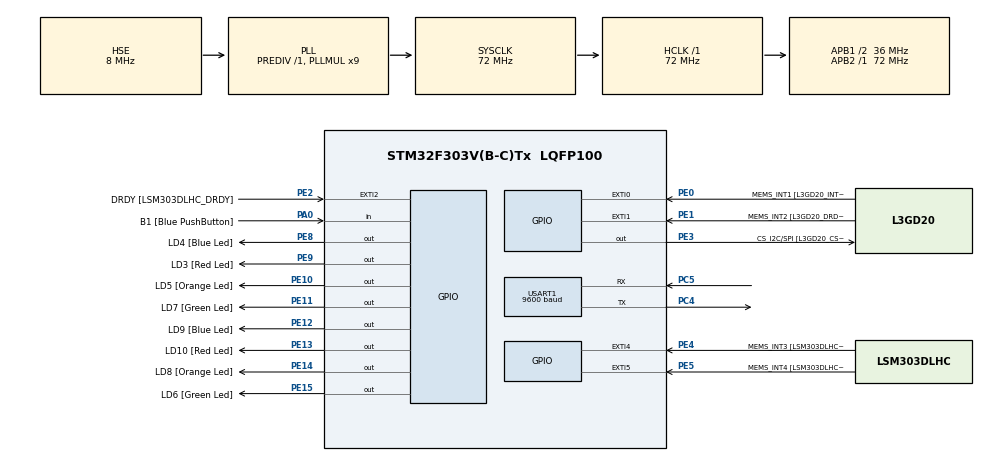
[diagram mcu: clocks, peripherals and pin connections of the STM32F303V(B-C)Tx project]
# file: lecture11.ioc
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FREERTOS.Mutexes01=RedMutex,Dynamic,NULL;GreenMutex,Dynamic,NULL
FREERTOS.Tasks01=defaultTask,24,128,StartDefaultTask,Default,NULL,Dynamic,NULL,NULL;myTask_A,24,128,task_A,Default,NULL,Dynamic,NULL,NULL;myTask_B,24,128,task_B,Default,NULL,Dynamic,NULL,NULL
Mcu.Family=STM32F3
Mcu.Name=STM32F303V(B-C)Tx
Mcu.Package=LQFP100
NVIC.PriorityGroup=NVIC_PRIORITYGROUP_4
NVIC.TIM2_IRQn=true\:0\:0\:false\:false\:true\:false\:false\:true
NVIC.TimeBase=TIM2_IRQn
NVIC.TimeBaseIP=TIM2
NVIC.USART1_IRQn=true\:5\:0\:false\:false\:true\:true\:true\:true
PA0.GPIO_Label=B1 [Blue PushButton]
PA0.GPIO_Mode=GPIO_MODE_INPUT
PA0.GPIO_PuPd=GPIO_NOPULL
PA0.Signal=GPIO_Input
PA11.GPIO_Label=DM
PA11.Signal=USB_DM
PA12.GPIO_Label=DP
PA12.Signal=USB_DP
PA13.GPIO_Label=SWDIO
PA13.Signal=SYS_JTMS-SWDIO
PA14.GPIO_Label=SWCLK
PA14.Signal=SYS_JTCK-SWCLK
PA5.GPIO_Label=SPI1_SCK [L3GD20_SCL/SPC]
PA5.GPIO_Mode=GPIO_MODE_AF_PP
PA5.GPIO_PuPd=GPIO_NOPULL
PA5.GPIO_Speed=GPIO_SPEED_FREQ_LOW
PA5.Signal=SPI1_SCK
PA6.GPIO_Label=SPI1_MISO [L3GD20_SA0/SDO]
PA6.GPIO_Mode=GPIO_MODE_AF_PP
PA6.GPIO_PuPd=GPIO_NOPULL
PA6.GPIO_Speed=GPIO_SPEED_FREQ_LOW
PA6.Signal=SPI1_MISO
PA7.GPIO_Label=SPI1_MISO [L3GD20_SDA/SDI/SDO]
PA7.GPIO_Mode=GPIO_MODE_AF_PP
PA7.GPIO_PuPd=GPIO_NOPULL
PA7.GPIO_Speed=GPIO_SPEED_FREQ_LOW
PA7.Signal=SPI1_MOSI
PB3.GPIO_Label=SWO
PB3.Signal=SYS_JTDO-TRACESWO
PB6.GPIO_FM6=__NULL
PB6.GPIO_Label=I2C1_SCL [LSM303DLHC_SCL]
PB6.GPIO_Mode=GPIO_MODE_AF_OD
PB6.GPIO_PuPd=GPIO_NOPULL
PB6.GPIO_Speed=GPIO_SPEED_FREQ_LOW
PB6.Signal=I2C1_SCL
PB7.GPIO_FM7=__NULL
PB7.GPIO_Label=I2C1_SDA [LSM303DLHC_SDA]
PB7.GPIO_Mode=GPIO_MODE_AF_OD
PB7.GPIO_PuPd=GPIO_NOPULL
PB7.GPIO_Speed=GPIO_SPEED_FREQ_LOW
PB7.Signal=I2C1_SDA
PC14-OSC32_IN.GPIO_Label=OSC32_IN
PC14-OSC32_IN.Signal=RCC_OSC32_IN
PC15-OSC32_OUT.GPIO_Label=OSC32_OUT
PC15-OSC32_OUT.Signal=RCC_OSC32_OUT
PC4.Mode=Asynchronous
PC4.Signal=USART1_TX
PC5.Mode=Asynchronous
PC5.Signal=USART1_RX
PE0.GPIO_Label=MEMS_INT1 [L3GD20_INT1]
PE0.GPIO_ModeDefaultEXTI=GPIO_MODE_EVT_RISING
PE0.GPIO_PuPd=GPIO_NOPULL
PE0.Signal=GPXTI0
PE1.GPIO_Label=MEMS_INT2 [L3GD20_DRDY/INT2]
PE1.GPIO_ModeDefaultEXTI=GPIO_MODE_EVT_RISING
PE1.GPIO_PuPd=GPIO_NOPULL
PE1.Signal=GPXTI1
PE10.GPIO_Label=LD5 [Orange Led]
PE10.GPIO_ModeDefaultOutputPP=GPIO_MODE_OUTPUT_PP
PE10.GPIO_PuPd=GPIO_NOPULL
PE10.GPIO_Speed=GPIO_SPEED_FREQ_LOW
PE10.Signal=GPIO_Output
PE11.GPIO_Label=LD7 [Green Led]
PE11.GPIO_ModeDefaultOutputPP=GPIO_MODE_OUTPUT_PP
PE11.GPIO_PuPd=GPIO_NOPULL
PE11.GPIO_Speed=GPIO_SPEED_FREQ_LOW
PE11.Signal=GPIO_Output
PE12.GPIO_Label=LD9 [Blue Led]
PE12.GPIO_ModeDefaultOutputPP=GPIO_MODE_OUTPUT_PP
PE12.GPIO_PuPd=GPIO_NOPULL
PE12.GPIO_Speed=GPIO_SPEED_FREQ_LOW
PE12.Signal=GPIO_Output
PE13.GPIO_Label=LD10 [Red Led]
PE13.GPIO_ModeDefaultOutputPP=GPIO_MODE_OUTPUT_PP
PE13.GPIO_PuPd=GPIO_NOPULL
PE13.GPIO_Speed=GPIO_SPEED_FREQ_LOW
PE13.Signal=GPIO_Output
PE14.GPIO_Label=LD8 [Orange Led]
PE14.GPIO_ModeDefaultOutputPP=GPIO_MODE_OUTPUT_PP
PE14.GPIO_PuPd=GPIO_NOPULL
PE14.GPIO_Speed=GPIO_SPEED_FREQ_LOW
PE14.Signal=GPIO_Output
PE15.GPIO_Label=LD6 [Green Led]
PE15.GPIO_ModeDefaultOutputPP=GPIO_MODE_OUTPUT_PP
PE15.GPIO_PuPd=GPIO_NOPULL
PE15.GPIO_Speed=GPIO_SPEED_FREQ_LOW
PE15.Signal=GPIO_Output
PE2.GPIO_Label=DRDY [LSM303DLHC_DRDY]
PE2.GPIO_ModeDefaultEXTI=GPIO_MODE_EVT_RISING
PE2.GPIO_PuPd=GPIO_NOPULL
PE2.Signal=GPXTI2
PE3.GPIO_Label=CS_I2C/SPI [L3GD20_CS_I2C/SPI]
PE3.GPIO_ModeDefaultOutputPP=GPIO_MODE_OUTPUT_PP
PE3.GPIO_PuPd=GPIO_NOPULL
PE3.GPIO_Speed=GPIO_SPEED_FREQ_LOW
PE3.Signal=GPIO_Output
PE4.GPIO_Label=MEMS_INT3 [LSM303DLHC_INT1]
PE4.GPIO_ModeDefaultEXTI=GPIO_MODE_EVT_RISING
PE4.GPIO_PuPd=GPIO_NOPULL
PE4.Signal=GPXTI4
PE5.GPIO_Label=MEMS_INT4 [LSM303DLHC_INT2]
PE5.GPIO_ModeDefaultEXTI=GPIO_MODE_EVT_RISING
PE5.GPIO_PuPd=GPIO_NOPULL
PE5.Signal=GPXTI5
PE8.GPIO_Label=LD4 [Blue Led]
PE8.GPIO_ModeDefaultOutputPP=GPIO_MODE_OUTPUT_PP
PE8.GPIO_PuPd=GPIO_NOPULL
PE8.GPIO_Speed=GPIO_SPEED_FREQ_LOW
PE8.Signal=GPIO_Output
PE9.GPIO_Label=LD3 [Red Led]
PE9.GPIO_ModeDefaultOutputPP=GPIO_MODE_OUTPUT_PP
PE9.GPIO_PuPd=GPIO_NOPULL
PE9.GPIO_Speed=GPIO_SPEED_FREQ_LOW
PE9.Signal=GPIO_Output
PF0-OSC_IN.GPIO_Label=OSC_IN
PF0-OSC_IN.Mode=HSE-External-Oscillator
PF0-OSC_IN.Signal=RCC_OSC_IN
PF1-OSC_OUT.GPIO_Label=OSC_OUT
PF1-OSC_OUT.Mode=HSE-External-Oscillator
PF1-OSC_OUT.Signal=RCC_OSC_OUT
ProjectManager.HeapSize=0x200
ProjectManager.StackSize=0x400
ProjectManager.TargetToolchain=MDK-ARM V5.27
RCC.AHBFreq_Value=72000000
RCC.APB1CLKDivider=RCC_HCLK_DIV2
RCC.APB1Freq_Value=36000000
RCC.APB1TimFreq_Value=72000000
RCC.APB2Freq_Value=72000000
RCC.APB2TimFreq_Value=72000000
RCC.CortexFreq_Value=72000000
RCC.HCLKFreq_Value=72000000
RCC.HSE_VALUE=8000000
RCC.HSI_VALUE=8000000
RCC.LSE_VALUE=32768
RCC.PLLMUL=RCC_PLL_MUL9
RCC.PLLSourceVirtual=RCC_PLLSOURCE_HSE
RCC.SYSCLKFreq_VALUE=72000000
RCC.SYSCLKSourceVirtual=RCC_SYSCLKSOURCE_PLLCLK
RCC.USBFreq_Value=72000000
USART1.BaudRate=9600
USART1.VirtualMode-Asynchronous=VM_ASYNC
VP_FREERTOS_VS_CMSIS_V2.Mode=CMSIS_V2
VP_SYS_VS_tim2.Mode=TIM2
board=STM32F3DISCOVERY

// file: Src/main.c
/* USER CODE BEGIN Header */
/**
  ******************************************************************************
  * @file           : main.c
  * @brief          : Task1 - Create program with livelock
  ******************************************************************************
  * @attention
  *
  * <h2><center>&copy; Copyright (c) 2020 STMicroelectronics.
  * All rights reserved.</center></h2>
  *
  * This software component is licensed by ST under Ultimate Liberty license
  * SLA0044, the "License"; You may not use this file except in compliance with
  * the License. You may obtain a copy of the License at:
  *                             www.st.com/SLA0044
  *
  ******************************************************************************
  */
/* USER CODE END Header */

#include "main.h"
#include "cmsis_os.h"
#include <string.h>

/* USER CODE BEGIN PD */
#define WAIT 10
/* USER CODE END PD */

UART_HandleTypeDef huart1;

osThreadId_t defaultTaskHandle;
osThreadId_t myTask_AHandle;
osThreadId_t myTask_BHandle;
osMutexId_t RedMutexHandle;
osMutexId_t GreenMutexHandle;

void SystemClock_Config(void);
static void MX_GPIO_Init(void);
static void MX_USART1_UART_Init(void);
void StartDefaultTask(void *argument);
void task_A(void *argument);
void task_B(void *argument);
void payload(void);

int main(void)
{

  /* MCU Configuration--------------------------------------------------------*/

  /* Reset of all peripherals, Initializes the Flash interface and the Systick. */
  HAL_Init();

  /* Configure the system clock */
  SystemClock_Config();

  /* Initialize all configured peripherals */
  MX_GPIO_Init();
  MX_USART1_UART_Init();

  osKernelInitialize();

  /* Create the mutex(es) */
  /* definition and creation of RedMutex */
  const osMutexAttr_t RedMutex_attributes = {
    .name = "RedMutex"
  };
  RedMutexHandle = osMutexNew(&RedMutex_attributes);

  /* definition and creation of GreenMutex */
  const osMutexAttr_t GreenMutex_attributes = {
    .name = "GreenMutex"
  };
  GreenMutexHandle = osMutexNew(&GreenMutex_attributes);

  /* Create the thread(s) */
  /* definition and creation of defaultTask */
  const osThreadAttr_t defaultTask_attributes = {
    .name = "defaultTask",
    .priority = (osPriority_t) osPriorityNormal,
    .stack_size = 128
  };
  defaultTaskHandle = osThreadNew(StartDefaultTask, NULL, &defaultTask_attributes);

  /* definition and creation of myTask_A */
  const osThreadAttr_t myTask_A_attributes = {
    .name = "myTask_A",
    .priority = (osPriority_t) osPriorityNormal,
    .stack_size = 128
  };
  myTask_AHandle = osThreadNew(task_A, NULL, &myTask_A_attributes);

  /* definition and creation of myTask_B */
  const osThreadAttr_t myTask_B_attributes = {
    .name = "myTask_B",
    .priority = (osPriority_t) osPriorityNormal,
    .stack_size = 128
  };
  myTask_BHandle = osThreadNew(task_B, NULL, &myTask_B_attributes);

  /* Start scheduler */
  osKernelStart();

  /* We should never get here as control is now taken by the scheduler */

  /* Infinite loop */
  while (1)
  {

  }
}

void SystemClock_Config(void)
{
  RCC_OscInitTypeDef RCC_OscInitStruct = {0};
  RCC_ClkInitTypeDef RCC_ClkInitStruct = {0};
  RCC_PeriphCLKInitTypeDef PeriphClkInit = {0};

  /** Initializes the CPU, AHB and APB busses clocks
  */
  RCC_OscInitStruct.OscillatorType = RCC_OSCILLATORTYPE_HSE;
  RCC_OscInitStruct.HSEState = RCC_HSE_ON;
  RCC_OscInitStruct.HSEPredivValue = RCC_HSE_PREDIV_DIV1;
  RCC_OscInitStruct.HSIState = RCC_HSI_ON;
  RCC_OscInitStruct.PLL.PLLState = RCC_PLL_ON;
  RCC_OscInitStruct.PLL.PLLSource = RCC_PLLSOURCE_HSE;
  RCC_OscInitStruct.PLL.PLLMUL = RCC_PLL_MUL9;
  if (HAL_RCC_OscConfig(&RCC_OscInitStruct) != HAL_OK)
  {
    Error_Handler();
  }
  /** Initializes the CPU, AHB and APB busses clocks
  */
  RCC_ClkInitStruct.ClockType = RCC_CLOCKTYPE_HCLK|RCC_CLOCKTYPE_SYSCLK
                              |RCC_CLOCKTYPE_PCLK1|RCC_CLOCKTYPE_PCLK2;
  RCC_ClkInitStruct.SYSCLKSource = RCC_SYSCLKSOURCE_PLLCLK;
  RCC_ClkInitStruct.AHBCLKDivider = RCC_SYSCLK_DIV1;
  RCC_ClkInitStruct.APB1CLKDivider = RCC_HCLK_DIV2;
  RCC_ClkInitStruct.APB2CLKDivider = RCC_HCLK_DIV1;

  if (HAL_RCC_ClockConfig(&RCC_ClkInitStruct, FLASH_LATENCY_2) != HAL_OK)
  {
    Error_Handler();
  }
  PeriphClkInit.PeriphClockSelection = RCC_PERIPHCLK_USART1;
  PeriphClkInit.Usart1ClockSelection = RCC_USART1CLKSOURCE_PCLK2;
  if (HAL_RCCEx_PeriphCLKConfig(&PeriphClkInit) != HAL_OK)
  {
    Error_Handler();
  }
}

static void MX_USART1_UART_Init(void)
{

  huart1.Instance = USART1;
  huart1.Init.BaudRate = 9600;
  huart1.Init.WordLength = UART_WORDLENGTH_8B;
  huart1.Init.StopBits = UART_STOPBITS_1;
  huart1.Init.Parity = UART_PARITY_NONE;
  huart1.Init.Mode = UART_MODE_TX_RX;
  huart1.Init.HwFlowCtl = UART_HWCONTROL_NONE;
  huart1.Init.OverSampling = UART_OVERSAMPLING_16;
  huart1.Init.OneBitSampling = UART_ONE_BIT_SAMPLE_DISABLE;
  huart1.AdvancedInit.AdvFeatureInit = UART_ADVFEATURE_NO_INIT;
  if (HAL_UART_Init(&huart1) != HAL_OK)
  {
    Error_Handler();
  }

}

static void MX_GPIO_Init(void)
{
  GPIO_InitTypeDef GPIO_InitStruct = {0};

  /* GPIO Ports Clock Enable */
  __HAL_RCC_GPIOE_CLK_ENABLE();
  __HAL_RCC_GPIOC_CLK_ENABLE();
  __HAL_RCC_GPIOF_CLK_ENABLE();
  __HAL_RCC_GPIOA_CLK_ENABLE();
  __HAL_RCC_GPIOB_CLK_ENABLE();

  /*Configure GPIO pin Output Level */
  HAL_GPIO_WritePin(GPIOE, CS_I2C_SPI_Pin|LD4_Pin|LD3_Pin|LD5_Pin
                          |LD7_Pin|LD9_Pin|LD10_Pin|LD8_Pin
                          |LD6_Pin, GPIO_PIN_RESET);

  /*Configure GPIO pins : DRDY_Pin MEMS_INT3_Pin MEMS_INT4_Pin MEMS_INT1_Pin
                           MEMS_INT2_Pin */
  GPIO_InitStruct.Pin = DRDY_Pin|MEMS_INT3_Pin|MEMS_INT4_Pin|MEMS_INT1_Pin
                          |MEMS_INT2_Pin;
  GPIO_InitStruct.Mode = GPIO_MODE_EVT_RISING;
  GPIO_InitStruct.Pull = GPIO_NOPULL;
  HAL_GPIO_Init(GPIOE, &GPIO_InitStruct);

  /*Configure GPIO pins : CS_I2C_SPI_Pin LD4_Pin LD3_Pin LD5_Pin
                           LD7_Pin LD9_Pin LD10_Pin LD8_Pin
                           LD6_Pin */
  GPIO_InitStruct.Pin = CS_I2C_SPI_Pin|LD4_Pin|LD3_Pin|LD5_Pin
                          |LD7_Pin|LD9_Pin|LD10_Pin|LD8_Pin
                          |LD6_Pin;
  GPIO_InitStruct.Mode = GPIO_MODE_OUTPUT_PP;
  GPIO_InitStruct.Pull = GPIO_NOPULL;
  GPIO_InitStruct.Speed = GPIO_SPEED_FREQ_LOW;
  HAL_GPIO_Init(GPIOE, &GPIO_InitStruct);

  /*Configure GPIO pin : B1_Pin */
  GPIO_InitStruct.Pin = B1_Pin;
  GPIO_InitStruct.Mode = GPIO_MODE_INPUT;
  GPIO_InitStruct.Pull = GPIO_NOPULL;
  HAL_GPIO_Init(B1_GPIO_Port, &GPIO_InitStruct);

  /*Configure GPIO pins : SPI1_SCK_Pin SPI1_MISO_Pin SPI1_MISOA7_Pin */
  GPIO_InitStruct.Pin = SPI1_SCK_Pin|SPI1_MISO_Pin|SPI1_MISOA7_Pin;
  GPIO_InitStruct.Mode = GPIO_MODE_AF_PP;
  GPIO_InitStruct.Pull = GPIO_NOPULL;
  GPIO_InitStruct.Speed = GPIO_SPEED_FREQ_LOW;
  GPIO_InitStruct.Alternate = GPIO_AF5_SPI1;
  HAL_GPIO_Init(GPIOA, &GPIO_InitStruct);

  /*Configure GPIO pins : DM_Pin DP_Pin */
  GPIO_InitStruct.Pin = DM_Pin|DP_Pin;
  GPIO_InitStruct.Mode = GPIO_MODE_AF_PP;
  GPIO_InitStruct.Pull = GPIO_NOPULL;
  GPIO_InitStruct.Speed = GPIO_SPEED_FREQ_HIGH;
  GPIO_InitStruct.Alternate = GPIO_AF14_USB;
  HAL_GPIO_Init(GPIOA, &GPIO_InitStruct);

  /*Configure GPIO pins : I2C1_SCL_Pin I2C1_SDA_Pin */
  GPIO_InitStruct.Pin = I2C1_SCL_Pin|I2C1_SDA_Pin;
  GPIO_InitStruct.Mode = GPIO_MODE_AF_OD;
  GPIO_InitStruct.Pull = GPIO_PULLUP;
  GPIO_InitStruct.Speed = GPIO_SPEED_FREQ_LOW;
  GPIO_InitStruct.Alternate = GPIO_AF4_I2C1;
  HAL_GPIO_Init(GPIOB, &GPIO_InitStruct);

}

/* USER CODE BEGIN 4 */
void payload(void)
{
	HAL_GPIO_TogglePin(GPIOE, GPIO_PIN_8);
	osDelay(500);
	HAL_GPIO_TogglePin(GPIOE, GPIO_PIN_9);
	osDelay(500);
	HAL_GPIO_TogglePin(GPIOE, GPIO_PIN_10);
	osDelay(500);
	HAL_UART_Transmit(&huart1, (uint8_t*)"WORK\r\n", strlen("WORK\r\n"), 0xFFFF);
}
/* USER CODE END 4 */

void StartDefaultTask(void *argument)
{
  /* USER CODE BEGIN 5 */
  /* Infinite loop */
  for(;;)
  {
    osDelay(1000);
		/*! led status */
    HAL_GPIO_TogglePin(GPIOE, GPIO_PIN_13);
  }
  /* USER CODE END 5 */
}

void task_A(void *argument)
{
  /* USER CODE BEGIN task_A */
  /* Infinite loop */
  for(;;)
  {
    osDelay(500);
		/*! take red mutex */
		if(osMutexAcquire(RedMutexHandle, WAIT) == osOK) {

			HAL_UART_Transmit(&huart1, (uint8_t*)"ACQUIRED RED MUTEX\r\n", strlen("ACQUIRED RED MUTEX\r\n"), 0xFFFF);

			HAL_GPIO_WritePin(LD6_GPIO_Port, LD6_Pin, GPIO_PIN_SET);

			osDelay(1000);
			/*! take green mutex */
			if(osMutexAcquire(GreenMutexHandle, WAIT) == osOK) {

				HAL_UART_Transmit(&huart1, (uint8_t*)"ACQUIRED GREEN MUTEX\r\n", strlen("ACQUIRED GREEN MUTEX\r\n"), 0xFFFF);
				/*! working led function */
				payload();
				/*! give green mutex */
				osMutexRelease(GreenMutexHandle);

				HAL_UART_Transmit(&huart1, (uint8_t*)"RELEASED GREEN MUTEX\r\n", strlen("RELEASED GREEN MUTEX\r\n"), 0xFFFF);
			}

			osDelay(500);

			HAL_GPIO_WritePin(LD6_GPIO_Port, LD6_Pin, GPIO_PIN_RESET);
			/*! give red mutex */
			osMutexRelease(RedMutexHandle);

			HAL_UART_Transmit(&huart1, (uint8_t*)"RELEASED RED MUTEX\r\n", strlen("RELEASED RED MUTEX\r\n"), 0xFFFF);

		}

  }
  /* USER CODE END task_A */
}

void task_B(void *argument)
{
  /* USER CODE BEGIN task_B */
  /* Infinite loop */
  for(;;)
  {
    osDelay(500);
		/*! take green mutex */
		if(osMutexAcquire(GreenMutexHandle, WAIT) == osOK) {

			HAL_UART_Transmit(&huart1, (uint8_t*)"ACQUIRED GREEN MUTEX\r\n", strlen("ACQUIRED GREEN MUTEX\r\n"), 0xFFFF);

			HAL_GPIO_WritePin(LD6_GPIO_Port, LD6_Pin, GPIO_PIN_SET);

			osDelay(1000);
			/*! take red mutex */
			if(osMutexAcquire(RedMutexHandle, WAIT) == osOK) {

				HAL_UART_Transmit(&huart1, (uint8_t*)"ACQUIRED RED MUTEX\r\n", strlen("ACQUIRED RED MUTEX\r\n"), 0xFFFF);
				/*! working led function */
				payload();
				/*! give red mutex */
				osMutexRelease(RedMutexHandle);

				HAL_UART_Transmit(&huart1, (uint8_t*)"RELEASED RED MUTEX\r\n", strlen("RELEASED RED MUTEX\r\n"), 0xFFFF);
			}

			osDelay(500);

			HAL_GPIO_WritePin(LD6_GPIO_Port, LD6_Pin, GPIO_PIN_RESET);
			/*! give green mutex */
			osMutexRelease(GreenMutexHandle);

			HAL_UART_Transmit(&huart1, (uint8_t*)"RELEASED GREEN MUTEX\r\n", strlen("RELEASED GREEN MUTEX\r\n"), 0xFFFF);

		}

  }
  /* USER CODE END task_B */
}

void HAL_TIM_PeriodElapsedCallback(TIM_HandleTypeDef *htim)
{
  if (htim->Instance == TIM2) {
    HAL_IncTick();
  }
}

void Error_Handler(void)
{
}

/************************ (C) COPYRIGHT STMicroelectronics *****END OF FILE****/
